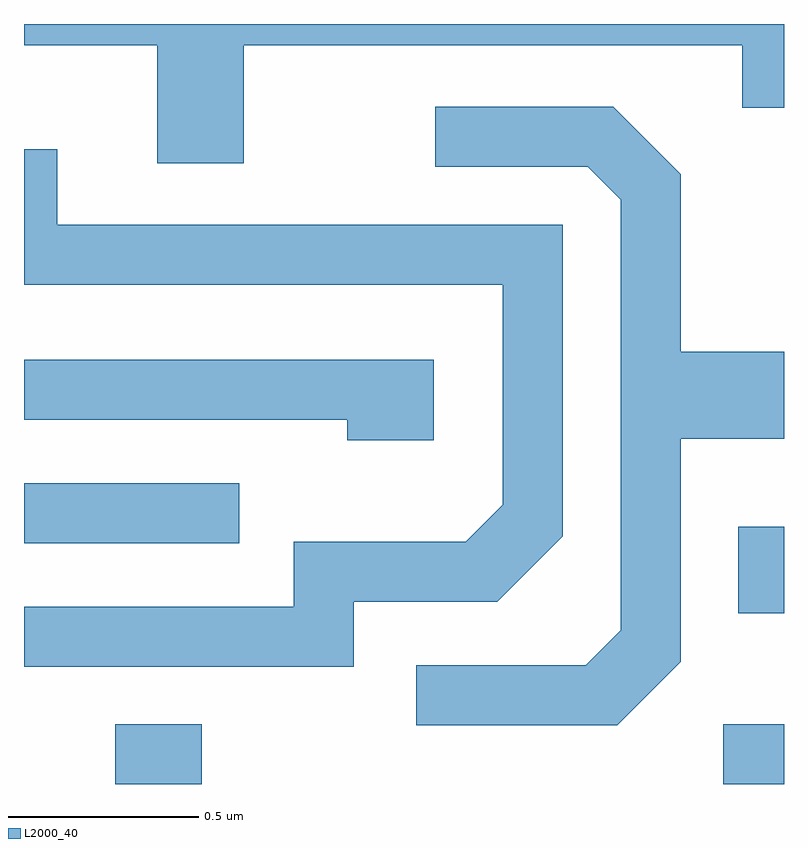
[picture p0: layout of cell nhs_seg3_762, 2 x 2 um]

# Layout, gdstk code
import gdstk
lib = gdstk.Library(unit=1e-6, precision=1e-09)
def R(c, l, rs):  # rectangles x0, y0, x1, y1
    for r in rs: c.add(gdstk.rectangle(r[:2], r[2:], *l))
def P(c, l, *ps):  # polygons
    for p in ps: c.add(gdstk.Polygon(p, *l))
L2000_40 = (2000, 40)

nhs_seg3_762 = lib.new_cell('nhs_seg3_762')
R(nhs_seg3_762, L2000_40, [(190.851,1192.892,191.079,1193.049), (192.451,1192.892,192.611,1193.049), (192.491,1193.341,192.611,1193.569), (190.611,1193.526,191.178,1193.684)])
P(nhs_seg3_762, L2000_40, [(191.189,1194.836),(192.501,1194.836),(192.501,1194.671),(192.611,1194.671),(192.611,1194.892),(190.611,1194.892),(190.611,1194.836),(190.961,1194.836),(190.961,1194.526),(191.189,1194.526)],
  [(192.339,1193.214),(192.339,1193.801),(192.611,1193.801),(192.611,1194.029),(192.339,1194.029),(192.339,1194.497),(192.162,1194.674),(191.693,1194.674),(191.693,1194.516),(192.094,1194.516),(192.181,1194.429),(192.181,1193.297),(192.089,1193.204),(191.643,1193.204),(191.643,1193.046),(192.172,1193.046)],
  [(191.479,1193.371),(191.857,1193.371),(192.029,1193.544),(192.029,1194.364),(190.699,1194.364),(190.699,1194.563),(190.611,1194.563),(190.611,1194.206),(191.871,1194.206),(191.871,1193.627),(191.774,1193.529),(191.321,1193.529),(191.321,1193.359),(190.611,1193.359),(190.611,1193.201),(191.479,1193.201)],
  [(191.689,1194.009),(190.611,1194.009),(190.611,1193.851),(191.461,1193.851),(191.461,1193.796),(191.689,1193.796)])

lib.write_gds('nhs_seg3_762.gds')
